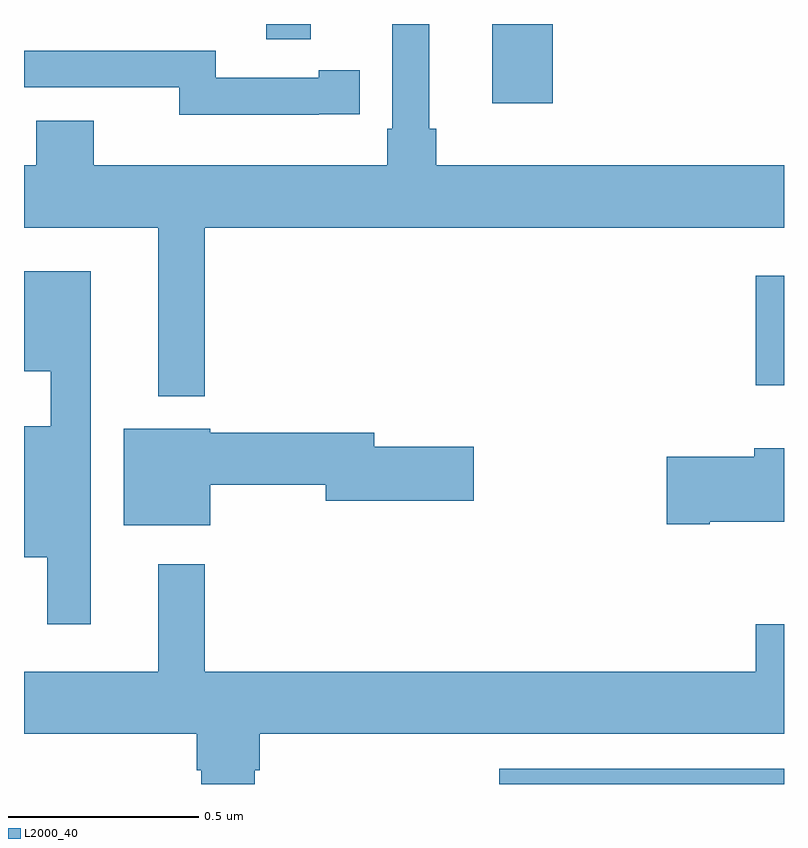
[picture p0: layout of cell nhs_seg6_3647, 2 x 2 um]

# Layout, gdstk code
import gdstk
lib = gdstk.Library(unit=1e-6, precision=1e-09)
def R(c, l, rs):  # rectangles x0, y0, x1, y1
    for r in rs: c.add(gdstk.rectangle(r[:2], r[2:], *l))
def P(c, l, *ps):  # polygons
    for p in ps: c.add(gdstk.Polygon(p, *l))
L2000_40 = (2000, 40)

nhs_seg6_3647 = lib.new_cell('nhs_seg6_3647')
R(nhs_seg6_3647, L2000_40, [(160.251,984.5,161,984.54), (160.925,985.55,161,985.837), (160.232,986.292,160.391,986.5), (159.637,986.46,159.755,986.5)])
P(nhs_seg6_3647, L2000_40, [(159.475,985.964),(161,985.964),(161,986.128),(160.085,986.128),(160.085,986.224),(160.066,986.224),(160.066,986.5),(159.969,986.5),(159.969,986.224),(159.956,986.224),(159.956,986.128),(159.184,986.128),(159.184,986.245),(159.032,986.245),(159.032,986.128),(159,986.128),(159,985.964),(159.353,985.964),(159.353,985.52),(159.475,985.52)],
  [(159.776,986.262),(159.884,986.262),(159.884,986.378),(159.776,986.378),(159.776,986.358),(159.504,986.358),(159.504,986.43),(159,986.43),(159,986.334),(159.408,986.334),(159.408,986.261),(159.776,986.261)],
  [(159.175,985.849),(159,985.849),(159,985.586),(159.071,985.586),(159.071,985.441),(159,985.441),(159,985.097),(159.061,985.097),(159.061,984.921),(159.175,984.921)],
  [(159.49,985.288),(159.794,985.288),(159.794,985.246),(160.183,985.246),(160.183,985.388),(159.922,985.388),(159.922,985.424),(159.49,985.424),(159.49,985.435),(159.263,985.435),(159.263,985.181),(159.49,985.181)],
  [(160.804,985.19),(161,985.19),(161,985.384),(160.922,985.384),(160.922,985.361),(160.692,985.361),(160.692,985.183),(160.804,985.183)],
  [(159.607,984.536),(159.62,984.536),(159.62,984.632),(161,984.632),(161,984.92),(160.925,984.92),(160.925,984.796),(159.475,984.796),(159.475,985.078),(159.353,985.078),(159.353,984.796),(159,984.796),(159,984.632),(159.455,984.632),(159.455,984.536),(159.467,984.536),(159.467,984.5),(159.607,984.5)])

lib.write_gds('nhs_seg6_3647.gds')
